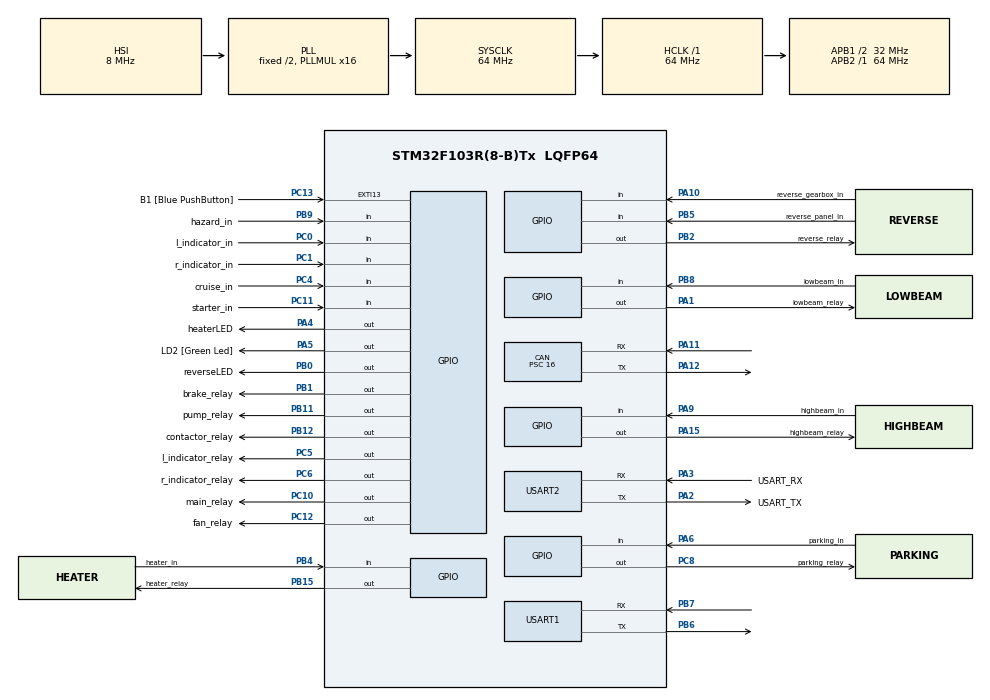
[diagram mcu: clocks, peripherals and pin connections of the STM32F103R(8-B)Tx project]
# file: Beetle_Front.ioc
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CAN.BS1=CAN_BS1_2TQ
CAN.CalculateBaudRate=500000
CAN.CalculateTimeBit=2000
CAN.CalculateTimeQuantum=500.0
CAN.Prescaler=16
Dma.Request0=USART1_TX
Dma.USART1_TX.0.Direction=DMA_MEMORY_TO_PERIPH
Dma.USART1_TX.0.Instance=DMA1_Channel4
Dma.USART1_TX.0.MemDataAlignment=DMA_MDATAALIGN_BYTE
Dma.USART1_TX.0.MemInc=DMA_MINC_ENABLE
Dma.USART1_TX.0.Mode=DMA_NORMAL
Dma.USART1_TX.0.PeriphDataAlignment=DMA_PDATAALIGN_BYTE
Dma.USART1_TX.0.PeriphInc=DMA_PINC_DISABLE
Dma.USART1_TX.0.Priority=DMA_PRIORITY_LOW
Mcu.Family=STM32F1
Mcu.Name=STM32F103R(8-B)Tx
Mcu.Package=LQFP64
NVIC.DMA1_Channel4_IRQn=true\:0\:0\:false\:false\:true\:false\:true\:true
NVIC.EXTI15_10_IRQn=true\:0\:0\:false\:false\:true\:true\:true\:true
NVIC.PriorityGroup=NVIC_PRIORITYGROUP_4
NVIC.TIM3_IRQn=true\:0\:0\:false\:false\:true\:true\:true\:true
NVIC.USART1_IRQn=true\:0\:0\:false\:false\:true\:true\:true\:true
NVIC.USB_LP_CAN1_RX0_IRQn=true\:0\:0\:false\:false\:true\:true\:true\:true
PA1.GPIO_Label=lowbeam_relay
PA1.Signal=GPIO_Output
PA10.GPIO_Label=reverse_gearbox_in
PA10.GPIO_PuPd=GPIO_PULLUP
PA10.Signal=GPIO_Input
PA11.GPIO_PuPd=GPIO_PULLUP
PA11.Mode=CAN_Activate
PA11.Signal=CAN_RX
PA12.Mode=CAN_Activate
PA12.Signal=CAN_TX
PA13.Signal=SYS_JTMS-SWDIO
PA14.Signal=SYS_JTCK-SWCLK
PA15.GPIO_Label=highbeam_relay
PA15.Signal=GPIO_Output
PA2.GPIO_Label=USART_TX
PA2.GPIO_Mode=GPIO_MODE_AF_PP
PA2.GPIO_PuPd=GPIO_NOPULL
PA2.GPIO_Speed=GPIO_SPEED_FREQ_LOW
PA2.Mode=Asynchronous
PA2.Signal=USART2_TX
PA3.GPIO_Label=USART_RX
PA3.GPIO_Mode=GPIO_MODE_AF_PP
PA3.GPIO_PuPd=GPIO_NOPULL
PA3.GPIO_Speed=GPIO_SPEED_FREQ_LOW
PA3.Mode=Asynchronous
PA3.Signal=USART2_RX
PA4.GPIO_Label=heaterLED
PA4.Signal=GPIO_Output
PA5.GPIO_Label=LD2 [Green Led]
PA5.GPIO_ModeDefaultOutputPP=GPIO_MODE_OUTPUT_PP
PA5.GPIO_PuPd=GPIO_NOPULL
PA5.GPIO_Speed=GPIO_SPEED_FREQ_LOW
PA5.Signal=GPIO_Output
PA6.GPIO_Label=parking_in
PA6.GPIO_PuPd=GPIO_PULLUP
PA6.Signal=GPIO_Input
PA9.GPIO_Label=highbeam_in
PA9.GPIO_PuPd=GPIO_PULLUP
PA9.Signal=GPIO_Input
PB0.GPIO_Label=reverseLED
PB0.Signal=GPIO_Output
PB1.GPIO_Label=brake_relay
PB1.Signal=GPIO_Output
PB11.GPIO_Label=pump_relay
PB11.Signal=GPIO_Output
PB12.GPIO_Label=contactor_relay
PB12.Signal=GPIO_Output
PB15.GPIO_Label=heater_relay
PB15.Signal=GPIO_Output
PB2.GPIO_Label=reverse_relay
PB2.Signal=GPIO_Output
PB3.GPIO_Label=SWO
PB3.Signal=SYS_JTDO-TRACESWO
PB4.GPIO_Label=heater_in
PB4.GPIO_PuPd=GPIO_PULLUP
PB4.Signal=GPIO_Input
PB5.GPIO_Label=reverse_panel_in
PB5.GPIO_PuPd=GPIO_PULLUP
PB5.Signal=GPIO_Input
PB6.Mode=Asynchronous
PB6.Signal=USART1_TX
PB7.Mode=Asynchronous
PB7.Signal=USART1_RX
PB8.GPIO_Label=lowbeam_in
PB8.GPIO_PuPd=GPIO_PULLUP
PB8.Signal=GPIO_Input
PB9.GPIO_Label=hazard_in
PB9.GPIO_PuPd=GPIO_PULLUP
PB9.Signal=GPIO_Input
PC0.GPIO_Label=l_indicator_in
PC0.GPIO_PuPd=GPIO_PULLUP
PC0.Signal=GPIO_Input
PC1.GPIO_Label=r_indicator_in
PC1.GPIO_PuPd=GPIO_PULLUP
PC1.Signal=GPIO_Input
PC10.GPIO_Label=main_relay
PC10.Signal=GPIO_Output
PC11.GPIO_Label=starter_in
PC11.GPIO_PuPd=GPIO_NOPULL
PC11.Signal=GPIO_Input
PC12.GPIO_Label=fan_relay
PC12.Signal=GPIO_Output
PC13-TAMPER-RTC.GPIO_Label=B1 [Blue PushButton]
PC13-TAMPER-RTC.GPIO_PuPd=GPIO_NOPULL
PC13-TAMPER-RTC.Signal=GPXTI13
PC14-OSC32_IN.Mode=LSE-External-Oscillator
PC14-OSC32_IN.Signal=RCC_OSC32_IN
PC15-OSC32_OUT.Mode=LSE-External-Oscillator
PC15-OSC32_OUT.Signal=RCC_OSC32_OUT
PC4.GPIO_Label=cruise_in
PC4.GPIO_PuPd=GPIO_PULLUP
PC4.Signal=GPIO_Input
PC5.GPIO_Label=l_indicator_relay
PC5.Signal=GPIO_Output
PC6.GPIO_Label=r_indicator_relay
PC6.Signal=GPIO_Output
PC8.GPIO_Label=parking_relay
PC8.Signal=GPIO_Output
PD0-OSC_IN.Mode=HSE-External-Clock-Source
PD0-OSC_IN.Signal=RCC_OSC_IN
PD1-OSC_OUT.Mode=HSE-External-Clock-Source
PD1-OSC_OUT.Signal=RCC_OSC_OUT
ProjectManager.HeapSize=0x200
ProjectManager.StackSize=0x400
ProjectManager.TargetToolchain=STM32CubeIDE
RCC.AHBFreq_Value=64000000
RCC.APB1CLKDivider=RCC_HCLK_DIV2
RCC.APB1Freq_Value=32000000
RCC.APB1TimFreq_Value=64000000
RCC.APB2Freq_Value=64000000
RCC.APB2TimFreq_Value=64000000
RCC.HCLKFreq_Value=64000000
RCC.PLLMUL=RCC_PLL_MUL16
RCC.RTCClockSelection=RCC_RTCCLKSOURCE_LSE
RCC.SYSCLKFreq_VALUE=64000000
RCC.SYSCLKSource=RCC_SYSCLKSOURCE_PLLCLK
RCC.USBFreq_Value=64000000
TIM3.Period=24
TIM3.Prescaler=63999
USART1.VirtualMode=VM_ASYNC
USART2.VirtualMode=VM_ASYNC
VP_SYS_VS_ND.Mode=No_Debug
VP_TIM3_VS_ClockSourceINT.Mode=Internal
board=NUCLEO-F103RB

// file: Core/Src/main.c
/* USER CODE BEGIN Header */
/**
 ******************************************************************************
 * @file           : main.c
 * @brief          : Main program body
 ******************************************************************************
 * @attention
 *
 * Copyright (c) 2025 STMicroelectronics.
 * All rights reserved.
 *
 * This software is licensed under terms that can be found in the LICENSE file
 * in the root directory of this software component.
 * If no LICENSE file comes with this software, it is provided AS-IS.
 *
 ******************************************************************************
 */
/* USER CODE END Header */
#include "main.h"

/* USER CODE BEGIN Includes */
#include "display_utils.h"

#include <stdbool.h>
#include <stdio.h>
/* USER CODE END Includes */

CAN_HandleTypeDef hcan;

TIM_HandleTypeDef htim3;

UART_HandleTypeDef huart1;
UART_HandleTypeDef huart2;
DMA_HandleTypeDef hdma_usart1_tx;

/* USER CODE BEGIN PV */
bool indicatorOn = true;
uint8_t hazardState[] =
		{ GPIO_PIN_SET, GPIO_PIN_SET, GPIO_PIN_SET, GPIO_PIN_SET };
uint8_t leftState[] = { GPIO_PIN_SET, GPIO_PIN_SET, GPIO_PIN_SET, GPIO_PIN_SET };
uint8_t rightState[] =
		{ GPIO_PIN_SET, GPIO_PIN_SET, GPIO_PIN_SET, GPIO_PIN_SET };
uint8_t indicatorCounter = 0;

volatile bool battery = false;
volatile bool uart_dma_busy = false;
volatile uint8_t indicator_state = 0;  // 0: off; 1: hazard; 2: left; 3: right

/* CAN message structures */
CAN_TxHeaderTypeDef TxHeader;
CAN_RxHeaderTypeDef RxHeader;
uint8_t TxData[8];
uint8_t RxData[8];
uint32_t TxMailbox;

/* UART buffer */
char uart_buf[100];
int uart_buf_len;

volatile bool contactor = false;    // Contactor state based on MCU summary
volatile bool plugged = false;      // Plugged in status based on MCU summary
volatile uint8_t SOC = 0;           // State of Charge percentage
volatile float current_bms = 0.0f;      // Current in Amps
volatile uint8_t thmax = 0;         // Maximum thermistor temperature
volatile float chargekw = 0.0f;     // Charge power in kW
volatile float voltage = 0.0f;      // Pack voltage in volts

volatile bool underTemp;
volatile bool overTemp;
volatile bool LVC;
volatile bool HVC;
volatile bool thermistorCensus;
volatile bool cellCensus;
volatile bool hardwareFault;

bool malfunction = false;

bool inverter_traction_enable = false;   // k1-4 traction enable
bool inverter_forward = false;           // k1-5 forward
bool inverter_reverse = false;           // k1-6 reverse
bool inverter_torque_limit = false;      // k1-7 torque limit
bool inverter_profile2 = false;          // k1-18 profile 2
bool inverter_profile3 = false;          // k1-19 profile 3

volatile uint32_t lastBMSMsg = 0;

// error display
#define numErrors 21
bool errors[numErrors] = { true, false, false, false, false, false, false,
false, false, false, false, false, false, false, false, false, false, false,
false, false, false };
uint8_t errorMsgs[numErrors][21] = { "  EV switched on  ", // 0
		"  Inv. > 75deg C  ", // 1
		" Motor > 135deg C ", // 2
		" Bat. below 100V  ", // 3
		"  Bat. below 20%  ", // 4
		"  Bat. < 5deg C   ", // 5
		"  Bat. > 40deg C  ", // 6
		"  Inv. > 90deg C  ", // 7
		" Motor > 155deg C ", // 8
		"  Bat. below 90V  ", // 9
		"  BMS CAN error   ", // 10
		" Fr-Rr CAN error  ", // 11
		"  Inv. CAN error  ", // 12
		"  BMS LVC < 2.8V  ", // 13
		" BMS HVC > 4.25V  ", // 14
		"  Bat. < 0deg C   ", // 15
		"  Bat. > 55deg C  ", // 16
		"  Therm. Census   ", // 17
		"   Cell Census    ", // 18
		"   BMS HW Fault   ", // 19
		" Inv. Error #     " }; // 20
uint32_t lastDispUpdate = 0;
uint8_t lastDispError = 0;

// Inverter telemetry data from 0x154 message
volatile double speed = 0;
volatile double current_inv = 0.0;
volatile int16_t motor_temp = 0;        // Motor temperature (signed)
volatile int16_t inverter_temp = 0;     // Inverter temperature (signed)
volatile uint8_t fault_code = 0;
volatile uint8_t fault_level = 0;
volatile bool brake_active_inv = false;     // Brake status (true/false)
volatile bool throttle_active_inv = false;  // Throttle status (true/false)
volatile double odometer = 0.0;
volatile uint32_t last154MsgTime = 0;         // Timestamp for timeout detection

uint32_t lastReversePress = 0;
uint32_t lastHeaterPress = 0;
bool heaterState = false;

uint32_t brake_on_time = 0;
uint32_t lights_on_time = 0;
/* USER CODE END PV */

void SystemClock_Config(void);
static void MX_GPIO_Init(void);
static void MX_DMA_Init(void);
static void MX_USART2_UART_Init(void);
static void MX_CAN_Init(void);
static void MX_TIM3_Init(void);
static void MX_USART1_UART_Init(void);

/* USER CODE BEGIN 0 */
void Send_BMS_Request(void) {
	TxHeader.StdId = 0x313; /* PDO2 MOSI ID */
	TxHeader.RTR = CAN_RTR_DATA;
	TxHeader.IDE = CAN_ID_STD;
	TxHeader.DLC = 8;

	// Requests in 50ms ticks
	TxData[0] = 0;
	TxData[1] = 1; 	  // MCU summary interval
	TxData[2] = 1;    // Pack summary interval
	TxData[3] = 20;   // Cell voltage summary interval
	TxData[4] = 5; // Thermistor summary interval HAS BUG IF SET TO 20 LIKE OTHERS
	TxData[5] = 20;   // SOC summary interval
	TxData[6] = 0;    // Cellmap summary (don't need this)
	TxData[7] = 0;

	HAL_CAN_AddTxMessage(&hcan, &TxHeader, TxData, &TxMailbox);
}

void Send_Inverter_State(void) {  // Send custom CAN control msg to rear STM32
	TxHeader.StdId = 0x166;  // Inverter control message ID
	TxHeader.RTR = CAN_RTR_DATA;
	TxHeader.IDE = CAN_ID_STD;
	TxHeader.DLC = 8;  // Standard 8-byte message

	// Pack all control bits into a single byte (bits 6-7 reserved)
	uint8_t control_byte = 0;

	// Set bits according to function parameters (following k1-pin order)
	if (inverter_traction_enable)
		control_byte |= 0x01;  // Bit 0: k1-4 traction enable
	if (inverter_forward)
		control_byte |= 0x02;  // Bit 1: k1-5 forward
	if (inverter_reverse)
		control_byte |= 0x04;  // Bit 2: k1-6 reverse
	if (inverter_torque_limit)
		control_byte |= 0x08;  // Bit 3: k1-7 torque limit
	if (inverter_profile2)
		control_byte |= 0x10;  // Bit 4: k1-18 profile 2
	if (inverter_profile3)
		control_byte |= 0x20;  // Bit 5: k1-19 profile 3

	// Set the control byte as the first byte of the message
	TxData[0] = control_byte;

	// Clear the rest of the message (not strictly necessary but good practice)
	for (int i = 1; i < 8; i++) {
		TxData[i] = 0;
	}

	// Send the message
	HAL_CAN_AddTxMessage(&hcan, &TxHeader, TxData, &TxMailbox);
}
/* USER CODE END 0 */

int main(void)
{

  /* USER CODE BEGIN 1 */
	uint8_t main_state = 0;  // 0: off; 1: on driving; 2: charging
	bool starter_held = true;
	uint32_t starter_start = 0;
	uint32_t lastBMSRequest = 0;
	uint32_t lastInverterControl = 0;
  /* USER CODE END 1 */

  /* MCU Configuration--------------------------------------------------------*/

  /* Reset of all peripherals, Initializes the Flash interface and the Systick. */
  HAL_Init();

  /* Configure the system clock */
  SystemClock_Config();

  /* Initialize all configured peripherals */
  MX_GPIO_Init();
  MX_DMA_Init();
  MX_USART2_UART_Init();
  MX_CAN_Init();
  MX_TIM3_Init();
  MX_USART1_UART_Init();
  /* USER CODE BEGIN 2 */
	HAL_TIM_Base_Start_IT(&htim3);
	CAN_FilterTypeDef filter;
	filter.FilterBank = 0;
	filter.FilterMode = CAN_FILTERMODE_IDMASK;
	filter.FilterScale = CAN_FILTERSCALE_32BIT;
	filter.FilterIdHigh = 0x0000;
	filter.FilterIdLow = 0x0000;
	filter.FilterMaskIdHigh = 0x0000;
	filter.FilterMaskIdLow = 0x0000;
	filter.FilterFIFOAssignment = CAN_RX_FIFO0; // Important: use FIFO0, not FIFO1
	filter.FilterActivation = ENABLE;
	HAL_CAN_ConfigFilter(&hcan, &filter);
	HAL_CAN_ActivateNotification(&hcan, CAN_IT_RX_FIFO0_MSG_PENDING);
	HAL_CAN_Start(&hcan);
	// Switch on main relay for display, horn, wipers, etc.
	HAL_GPIO_WritePin(main_relay_GPIO_Port, main_relay_Pin, GPIO_PIN_SET);
  /* USER CODE END 2 */

  /* Infinite loop */
  /* USER CODE BEGIN WHILE */
	while (1) {
		uint32_t currentTime = HAL_GetTick();

		// if we haven't received recent BMS update via CAN, set error and turn off contactor
		if (currentTime + 50 - lastBMSMsg > 300) {
			contactor = false;
			inverter_traction_enable = false;
			SOC = 0;
			thmax = 98;
			voltage = 987.0f;
			errors[10] = true;
		} else {
			errors[10] = false;
		}

		// More than 1 second since last telemetry message from rear STM32, set default values
		if (currentTime - last154MsgTime > 100 && currentTime > 1700) {
			throttle_active_inv = false;
			speed = 198.0;
			motor_temp = 987;
			inverter_temp = 987;
			odometer = 987654.0;
			current_inv = 200.0;
			HAL_GPIO_WritePin(brake_relay_GPIO_Port, brake_relay_Pin,
					GPIO_PIN_SET);
			malfunction = true;
			inverter_traction_enable = false;
			errors[11] = true;
			errors[12] = true;
		} else {
			errors[11] = false;
			errors[12] = false;
		}

		if (contactor && !malfunction) {
			HAL_GPIO_WritePin(contactor_relay_GPIO_Port, contactor_relay_Pin,
					GPIO_PIN_SET);
		} else {
			HAL_GPIO_WritePin(contactor_relay_GPIO_Port, contactor_relay_Pin,
					GPIO_PIN_RESET);
			inverter_traction_enable = false;
		}

		if (brake_active_inv) {
			HAL_GPIO_WritePin(brake_relay_GPIO_Port, brake_relay_Pin,
					GPIO_PIN_SET);
			brake_on_time = currentTime;
		} else {
			if (brake_on_time + 120 < currentTime){ // Hysterisis
				HAL_GPIO_WritePin(brake_relay_GPIO_Port, brake_relay_Pin,
					GPIO_PIN_RESET);
			}
		}

		if (inverter_temp > 40 && currentTime > 1000) {
			HAL_GPIO_WritePin(pump_relay_GPIO_Port, pump_relay_Pin,
					GPIO_PIN_SET);
		} else if (inverter_temp < 35){
			HAL_GPIO_WritePin(pump_relay_GPIO_Port, pump_relay_Pin,
					GPIO_PIN_RESET);
		}

		bool heater_button = !HAL_GPIO_ReadPin(heater_in_GPIO_Port,
		heater_in_Pin);
		if (heater_button && currentTime > lastHeaterPress + 50) {
			if (currentTime < lastHeaterPress + 500) {
				heaterState = !heaterState;
				if (heaterState) {
					HAL_GPIO_WritePin(heater_relay_GPIO_Port, heater_relay_Pin,
							GPIO_PIN_SET);
					HAL_GPIO_WritePin(heaterLED_GPIO_Port, heaterLED_Pin,
							GPIO_PIN_SET);
				} else {
					HAL_GPIO_WritePin(heater_relay_GPIO_Port, heater_relay_Pin,
							GPIO_PIN_RESET);
					HAL_GPIO_WritePin(heaterLED_GPIO_Port, heaterLED_Pin,
							GPIO_PIN_RESET);
				}
				lastHeaterPress = currentTime + 500;
			} else {
				lastHeaterPress = currentTime;
			}
		}

		bool reverse_sensor = !HAL_GPIO_ReadPin(reverse_gearbox_in_GPIO_Port,
		reverse_gearbox_in_Pin);
		if ((inverter_reverse && !reverse_sensor)
				|| (!inverter_reverse && reverse_sensor)) {
			HAL_GPIO_WritePin(reverse_relay_GPIO_Port, reverse_relay_Pin,
					GPIO_PIN_SET);
			HAL_GPIO_WritePin(reverseLED_GPIO_Port, reverseLED_Pin,
					GPIO_PIN_SET);
		} else {
			HAL_GPIO_WritePin(reverse_relay_GPIO_Port, reverse_relay_Pin,
					GPIO_PIN_RESET);
			HAL_GPIO_WritePin(reverseLED_GPIO_Port, reverseLED_Pin,
					GPIO_PIN_RESET);
		}

		if (currentTime - lastBMSRequest > 500) {
			Send_BMS_Request();
			lastBMSRequest = currentTime;
		}

		if (currentTime - lastInverterControl > 100) {
			Send_Inverter_State();
			lastInverterControl = currentTime;
		}

		if (plugged == true) {
			main_state = 2;
		}

		if (main_state == 0) {  // car off mode
			if (currentTime < 2000 && currentTime > 1300) {
				set_page(3);
			} else if (!HAL_GPIO_ReadPin(reverse_panel_in_GPIO_Port,
			reverse_panel_in_Pin) && !HAL_GPIO_ReadPin(heater_in_GPIO_Port,
			heater_in_Pin)) {
				set_page(1);
			}
			HAL_Delay(50);

			uint32_t current_time = HAL_GetTick();

			uint8_t starter_in = HAL_GPIO_ReadPin(starter_in_GPIO_Port,
			starter_in_Pin);
			if (starter_in == GPIO_PIN_RESET) {
				set_state(0x2110, 1);

				if (starter_start == 0 && current_time > 200
						&& brake_active_inv) {
					starter_start = current_time;
				} else if (starter_start
						> 0 && current_time - starter_start > 700 && starter_held == true) {
					set_current_bar(0.0);
					main_state = 1;
					inverter_traction_enable = true;
					inverter_forward = true;
				}
			} else {
				set_state(0x2110, 0);
				if (starter_start > 0) {
					starter_held = false;
				}
			}
			if (brake_active_inv) {
				set_state(0x2100, 1);
			} else {
				set_state(0x2100, 0);
				if (starter_start > 0) {
					starter_held = false;
				}
			}
			if (throttle_active_inv && starter_start > 0) {
				starter_held = false;
			}

		} else if (main_state == 1) {  // driving mode
			set_page(1);
			set_battery(SOC);
			write_two(0x1550, thmax);
			write_three(0x1540, motor_temp);
			write_three(0x1560, inverter_temp);
			// Convert odometer to integer (multiply by 100 since odometer has 2 decimal places)
			uint32_t odo_int = (uint32_t) odometer;

			// Cap at 999999 if needed
			if (odo_int > 999999)
				odo_int = 999999;

			// Prepare 6 ASCII bytes for display
			uint8_t odo_bytes[6];
			odo_bytes[0] = (odo_int / 100000) + '0';       // 100000s place
			odo_bytes[1] = ((odo_int / 10000) % 10) + '0'; // 10000s place
			odo_bytes[2] = ((odo_int / 1000) % 10) + '0';  // 1000s place
			odo_bytes[3] = ((odo_int / 100) % 10) + '0';   // 100s place
			odo_bytes[4] = ((odo_int / 10) % 10) + '0';    // 10s place
			odo_bytes[5] = (odo_int % 10) + '0';           // 1s place

			// Send to display
			dwin_write(0x1570, odo_bytes, 6);

			uint32_t vol_int = (uint32_t) voltage;

			// Cap at 999999 if needed
			if (vol_int > 999)
				vol_int = 999;

			uint8_t vol_bytes[5];
			vol_bytes[0] = ((vol_int / 100) % 10) + '0';   // 100s place
			vol_bytes[1] = ((vol_int / 10) % 10) + '0';    // 10s place
			vol_bytes[2] = (vol_int % 10) + '0';           // 1s place
			vol_bytes[3] = ' '; // 10000s place
			vol_bytes[4] = 'v';  // 1000s place

			dwin_write(0x1580, vol_bytes, 5);

			set_state(0x1740, (int) speed / 100);         // hundreds digit
			set_state(0x1750, ((int) speed % 100) / 10);  // tens digit
			set_state(0x1760, (int) speed % 10);          // ones digit
			set_current_bar(current_inv);

			if (indicator_state == 0) {
				set_state(0x1710, 0);
				set_state(0x1730, 0);
			} else if (indicator_state == 1) {
				set_state(0x1710, 1);
				set_state(0x1730, 1);
			} else if (indicator_state == 2) {
				set_state(0x1710, 1);
				set_state(0x1730, 0);
			} else if (indicator_state == 3) {
				set_state(0x1710, 0);
				set_state(0x1730, 1);
			}

			bool reverse_button = !HAL_GPIO_ReadPin(reverse_panel_in_GPIO_Port,
			reverse_panel_in_Pin);
			if (reverse_button && currentTime > lastReversePress + 50) {
				if (currentTime < lastReversePress + 500) {
					inverter_reverse = !inverter_reverse;
					inverter_forward = !inverter_forward;
					lastReversePress = currentTime + 500;
				} else {
					lastReversePress = currentTime;
				}
			}
		} else {  // charging
			inverter_traction_enable = false;
			set_page(2);
			set_battery(SOC);
			set_voltage(voltage);
			set_current(current_bms);
			set_charge_kw((voltage * current_bms) / 1000.0f);
		}

		// always running code:
		// parking/highbeam/lowbeam and display
		uint8_t parking_in = HAL_GPIO_ReadPin(parking_in_GPIO_Port,
		parking_in_Pin);
		uint8_t lowbeam_in = HAL_GPIO_ReadPin(lowbeam_in_GPIO_Port,
		lowbeam_in_Pin);
		uint8_t highbeam_in = HAL_GPIO_ReadPin(highbeam_in_GPIO_Port,
		highbeam_in_Pin);
		if (highbeam_in == GPIO_PIN_RESET) {
			HAL_GPIO_WritePin(highbeam_relay_GPIO_Port, highbeam_relay_Pin,
					GPIO_PIN_SET);
			HAL_GPIO_WritePin(lowbeam_relay_GPIO_Port, lowbeam_relay_Pin,
					GPIO_PIN_RESET);
			HAL_GPIO_WritePin(parking_relay_GPIO_Port, parking_relay_Pin,
					GPIO_PIN_SET);
			set_state(0x1720, 3);
			lights_on_time = currentTime;
		} else if (lowbeam_in == GPIO_PIN_RESET) {
			HAL_GPIO_WritePin(highbeam_relay_GPIO_Port, highbeam_relay_Pin,
					GPIO_PIN_RESET);
			HAL_GPIO_WritePin(lowbeam_relay_GPIO_Port, lowbeam_relay_Pin,
					GPIO_PIN_SET);
			HAL_GPIO_WritePin(parking_relay_GPIO_Port, parking_relay_Pin,
					GPIO_PIN_SET);
			set_state(0x1720, 2);
			lights_on_time = currentTime;
		} else if (parking_in == GPIO_PIN_RESET) {
			HAL_GPIO_WritePin(highbeam_relay_GPIO_Port, highbeam_relay_Pin,
					GPIO_PIN_RESET);
			HAL_GPIO_WritePin(lowbeam_relay_GPIO_Port, lowbeam_relay_Pin,
					GPIO_PIN_RESET);
			HAL_GPIO_WritePin(parking_relay_GPIO_Port, parking_relay_Pin,
					GPIO_PIN_SET);
			set_state(0x1720, 1);
			lights_on_time = currentTime;
		} else if (lights_on_time + 120 < currentTime) {
			HAL_GPIO_WritePin(highbeam_relay_GPIO_Port, highbeam_relay_Pin,
					GPIO_PIN_RESET);
			HAL_GPIO_WritePin(lowbeam_relay_GPIO_Port, lowbeam_relay_Pin,
					GPIO_PIN_RESET);
			HAL_GPIO_WritePin(parking_relay_GPIO_Port, parking_relay_Pin,
					GPIO_PIN_RESET);
			set_state(0x1720, 0);
			lights_on_time = currentTime;
		}

		if (currentTime - lastDispUpdate >= 1000) {
//					"Cell voltage<2.80V", // 11
//					"Cell voltage>4.25V", // 12
			// inverter temp
			if (inverter_temp > 90) {
				errors[7] = true;
				errors[1] = false;
			} else if (inverter_temp > 75) {
				errors[7] = false;
				errors[1] = true;
			} else {
				errors[7] = false;
				errors[1] = false;
			}
			// motor temp
			if (motor_temp > 155) {
				errors[8] = true;
				errors[2] = false;
			} else if (motor_temp > 135) {
				errors[8] = false;
				errors[2] = true;
			} else {
				errors[8] = false;
				errors[2] = false;
			}
			// voltage
			if (voltage < 90.0f) {
				errors[9] = true;
				errors[3] = false;
			} else if (voltage < 100.0f) {
				errors[9] = false;
				errors[3] = true;
			} else {
				errors[9] = false;
				errors[3] = false;
			}
			// soc
			if (SOC < 20) {
				errors[4] = true;
			} else {
				errors[4] = false;
			}
			// bat low temp
			if (underTemp) {
				errors[15] = true;
				errors[5] = false;
			} else if (thmax < 5) {
				errors[15] = false;
				errors[5] = true;
			} else {
				errors[15] = false;
				errors[5] = false;
			}
			// bat high temp
			if (overTemp) {
				errors[16] = true;
				errors[6] = false;
			} else if (thmax < 5) {
				errors[16] = false;
				errors[6] = true;
			} else {
				errors[16] = false;
				errors[6] = false;
			}
			if (LVC) {
				errors[13] = true;
			} else {
				errors[13] = false;
			}
			if (HVC) {
				errors[14] = true;
			} else {
				errors[14] = false;
			}
			if (thermistorCensus) {
				errors[17] = true;
			} else {
				errors[17] = false;
			}
			if (cellCensus) {
				errors[18] = true;
			} else {
				errors[18] = false;
			}
			if (hardwareFault) {
				errors[19] = true;
			} else {
				errors[19] = false;
			}
			// inverter error
			if (fault_code > 0) {
				errors[20] = true;
			} else {
				errors[20] = false;
			}

			// Find the next active error (where errors[i] is true)
			uint8_t i = (lastDispError + 1) % numErrors; // Start from the next error index

			// Keep searching until we find an active error
			while (errors[i] == false) {
				i = (i + 1) % numErrors; // Wrap around if needed
			}

			// Update the last error index
			lastDispError = i;

			// Display the corresponding error message
			uint8_t colour[2];
			if (lastDispError <= 0) {
				colour[0] = 0x4D;
				colour[1] = 0x25;
			} else if (lastDispError <= 6) {
				colour[0] = 0xD4;
				colour[1] = 0xC0;
			} else {
				colour[0] = 0xD0;
				colour[1] = 0x00;
			}

			if (lastDispError == 20) {
				if (fault_level < 3) {
					strcpy((char *)errorMsgs[20], " Inv. Error #     ");
				}
				else {
					strcpy((char *)errorMsgs[20], "  Inv. Warn #     ");
					colour[0] = 0xD4;
					colour[1] = 0xC0;
				}

				errorMsgs[20][13] = ((fault_code / 100) % 10) + '0'; // 100s place
				errorMsgs[20][14] = ((fault_code / 10) % 10) + '0'; // 10s place
				errorMsgs[20][15] = (fault_code % 10) + '0';         // 1s place

				switch (fault_code) { // Custom msgs for certain codes
				case 25:
					strcpy((char *)errorMsgs[20], "Inv. Regen Cutback");
				}
			}
			dwin_write(0x7903, colour, sizeof(colour));
			dwin_write(0x2900, errorMsgs[lastDispError], 18);

			// Update the timestamp for the next cycle
			lastDispUpdate = currentTime;
		}

    /* USER CODE END WHILE */

	}
}

void SystemClock_Config(void)
{
  RCC_OscInitTypeDef RCC_OscInitStruct = {0};
  RCC_ClkInitTypeDef RCC_ClkInitStruct = {0};

  /** Initializes the RCC Oscillators according to the specified parameters
  * in the RCC_OscInitTypeDef structure.
  */
  RCC_OscInitStruct.OscillatorType = RCC_OSCILLATORTYPE_HSI;
  RCC_OscInitStruct.HSIState = RCC_HSI_ON;
  RCC_OscInitStruct.HSICalibrationValue = RCC_HSICALIBRATION_DEFAULT;
  RCC_OscInitStruct.PLL.PLLState = RCC_PLL_ON;
  RCC_OscInitStruct.PLL.PLLSource = RCC_PLLSOURCE_HSI_DIV2;
  RCC_OscInitStruct.PLL.PLLMUL = RCC_PLL_MUL16;
  if (HAL_RCC_OscConfig(&RCC_OscInitStruct) != HAL_OK)
  {
    Error_Handler();
  }

  /** Initializes the CPU, AHB and APB buses clocks
  */
  RCC_ClkInitStruct.ClockType = RCC_CLOCKTYPE_HCLK|RCC_CLOCKTYPE_SYSCLK
                              |RCC_CLOCKTYPE_PCLK1|RCC_CLOCKTYPE_PCLK2;
  RCC_ClkInitStruct.SYSCLKSource = RCC_SYSCLKSOURCE_PLLCLK;
  RCC_ClkInitStruct.AHBCLKDivider = RCC_SYSCLK_DIV1;
  RCC_ClkInitStruct.APB1CLKDivider = RCC_HCLK_DIV2;
  RCC_ClkInitStruct.APB2CLKDivider = RCC_HCLK_DIV1;

  if (HAL_RCC_ClockConfig(&RCC_ClkInitStruct, FLASH_LATENCY_2) != HAL_OK)
  {
    Error_Handler();
  }
}

static void MX_CAN_Init(void)
{

  hcan.Instance = CAN1;
  hcan.Init.Prescaler = 16;
  hcan.Init.Mode = CAN_MODE_NORMAL;
  hcan.Init.SyncJumpWidth = CAN_SJW_1TQ;
  hcan.Init.TimeSeg1 = CAN_BS1_2TQ;
  hcan.Init.TimeSeg2 = CAN_BS2_1TQ;
  hcan.Init.TimeTriggeredMode = DISABLE;
  hcan.Init.AutoBusOff = DISABLE;
  hcan.Init.AutoWakeUp = DISABLE;
  hcan.Init.AutoRetransmission = DISABLE;
  hcan.Init.ReceiveFifoLocked = DISABLE;
  hcan.Init.TransmitFifoPriority = DISABLE;
  if (HAL_CAN_Init(&hcan) != HAL_OK)
  {
    Error_Handler();
  }

}

static void MX_TIM3_Init(void)
{

  TIM_ClockConfigTypeDef sClockSourceConfig = {0};
  TIM_MasterConfigTypeDef sMasterConfig = {0};

  htim3.Instance = TIM3;
  htim3.Init.Prescaler = 63999;
  htim3.Init.CounterMode = TIM_COUNTERMODE_UP;
  htim3.Init.Period = 24;
  htim3.Init.ClockDivision = TIM_CLOCKDIVISION_DIV1;
  htim3.Init.AutoReloadPreload = TIM_AUTORELOAD_PRELOAD_DISABLE;
  if (HAL_TIM_Base_Init(&htim3) != HAL_OK)
  {
    Error_Handler();
  }
  sClockSourceConfig.ClockSource = TIM_CLOCKSOURCE_INTERNAL;
  if (HAL_TIM_ConfigClockSource(&htim3, &sClockSourceConfig) != HAL_OK)
  {
    Error_Handler();
  }
  sMasterConfig.MasterOutputTrigger = TIM_TRGO_RESET;
  sMasterConfig.MasterSlaveMode = TIM_MASTERSLAVEMODE_DISABLE;
  if (HAL_TIMEx_MasterConfigSynchronization(&htim3, &sMasterConfig) != HAL_OK)
  {
    Error_Handler();
  }

}

static void MX_USART1_UART_Init(void)
{

  huart1.Instance = USART1;
  huart1.Init.BaudRate = 115200;
  huart1.Init.WordLength = UART_WORDLENGTH_8B;
  huart1.Init.StopBits = UART_STOPBITS_1;
  huart1.Init.Parity = UART_PARITY_NONE;
  huart1.Init.Mode = UART_MODE_TX_RX;
  huart1.Init.HwFlowCtl = UART_HWCONTROL_NONE;
  huart1.Init.OverSampling = UART_OVERSAMPLING_16;
  if (HAL_UART_Init(&huart1) != HAL_OK)
  {
    Error_Handler();
  }

}

static void MX_USART2_UART_Init(void)
{

  huart2.Instance = USART2;
  huart2.Init.BaudRate = 115200;
  huart2.Init.WordLength = UART_WORDLENGTH_8B;
  huart2.Init.StopBits = UART_STOPBITS_1;
  huart2.Init.Parity = UART_PARITY_NONE;
  huart2.Init.Mode = UART_MODE_TX_RX;
  huart2.Init.HwFlowCtl = UART_HWCONTROL_NONE;
  huart2.Init.OverSampling = UART_OVERSAMPLING_16;
  if (HAL_UART_Init(&huart2) != HAL_OK)
  {
    Error_Handler();
  }

}

static void MX_DMA_Init(void)
{

  /* DMA controller clock enable */
  __HAL_RCC_DMA1_CLK_ENABLE();

  /* DMA interrupt init */
  /* DMA1_Channel4_IRQn interrupt configuration */
  HAL_NVIC_SetPriority(DMA1_Channel4_IRQn, 0, 0);
  HAL_NVIC_EnableIRQ(DMA1_Channel4_IRQn);

}

static void MX_GPIO_Init(void)
{
  GPIO_InitTypeDef GPIO_InitStruct = {0};

  /* GPIO Ports Clock Enable */
  __HAL_RCC_GPIOC_CLK_ENABLE();
  __HAL_RCC_GPIOD_CLK_ENABLE();
  __HAL_RCC_GPIOA_CLK_ENABLE();
  __HAL_RCC_GPIOB_CLK_ENABLE();

  /*Configure GPIO pin Output Level */
  HAL_GPIO_WritePin(GPIOA, lowbeam_relay_Pin|heaterLED_Pin|LD2_Pin|highbeam_relay_Pin, GPIO_PIN_RESET);

  /*Configure GPIO pin Output Level */
  HAL_GPIO_WritePin(GPIOC, l_indicator_relay_Pin|r_indicator_relay_Pin|parking_relay_Pin|main_relay_Pin
                          |fan_relay_Pin, GPIO_PIN_RESET);

  /*Configure GPIO pin Output Level */
  HAL_GPIO_WritePin(GPIOB, reverseLED_Pin|brake_relay_Pin|reverse_relay_Pin|pump_relay_Pin
                          |contactor_relay_Pin|heater_relay_Pin, GPIO_PIN_RESET);

  /*Configure GPIO pin : B1_Pin */
  GPIO_InitStruct.Pin = B1_Pin;
  GPIO_InitStruct.Mode = GPIO_MODE_IT_RISING;
  GPIO_InitStruct.Pull = GPIO_NOPULL;
  HAL_GPIO_Init(B1_GPIO_Port, &GPIO_InitStruct);

  /*Configure GPIO pins : l_indicator_in_Pin r_indicator_in_Pin cruise_in_Pin */
  GPIO_InitStruct.Pin = l_indicator_in_Pin|r_indicator_in_Pin|cruise_in_Pin;
  GPIO_InitStruct.Mode = GPIO_MODE_INPUT;
  GPIO_InitStruct.Pull = GPIO_PULLUP;
  HAL_GPIO_Init(GPIOC, &GPIO_InitStruct);

  /*Configure GPIO pins : lowbeam_relay_Pin heaterLED_Pin LD2_Pin highbeam_relay_Pin */
  GPIO_InitStruct.Pin = lowbeam_relay_Pin|heaterLED_Pin|LD2_Pin|highbeam_relay_Pin;
  GPIO_InitStruct.Mode = GPIO_MODE_OUTPUT_PP;
  GPIO_InitStruct.Pull = GPIO_NOPULL;
  GPIO_InitStruct.Speed = GPIO_SPEED_FREQ_LOW;
  HAL_GPIO_Init(GPIOA, &GPIO_InitStruct);

  /*Configure GPIO pins : parking_in_Pin highbeam_in_Pin reverse_gearbox_in_Pin */
  GPIO_InitStruct.Pin = parking_in_Pin|highbeam_in_Pin|reverse_gearbox_in_Pin;
  GPIO_InitStruct.Mode = GPIO_MODE_INPUT;
  GPIO_InitStruct.Pull = GPIO_PULLUP;
  HAL_GPIO_Init(GPIOA, &GPIO_InitStruct);

  /*Configure GPIO pins : l_indicator_relay_Pin r_indicator_relay_Pin parking_relay_Pin main_relay_Pin
                           fan_relay_Pin */
  GPIO_InitStruct.Pin = l_indicator_relay_Pin|r_indicator_relay_Pin|parking_relay_Pin|main_relay_Pin
                          |fan_relay_Pin;
  GPIO_InitStruct.Mode = GPIO_MODE_OUTPUT_PP;
  GPIO_InitStruct.Pull = GPIO_NOPULL;
  GPIO_InitStruct.Speed = GPIO_SPEED_FREQ_LOW;
  HAL_GPIO_Init(GPIOC, &GPIO_InitStruct);

  /*Configure GPIO pins : reverseLED_Pin brake_relay_Pin reverse_relay_Pin pump_relay_Pin
                           contactor_relay_Pin heater_relay_Pin */
  GPIO_InitStruct.Pin = reverseLED_Pin|brake_relay_Pin|reverse_relay_Pin|pump_relay_Pin
                          |contactor_relay_Pin|heater_relay_Pin;
  GPIO_InitStruct.Mode = GPIO_MODE_OUTPUT_PP;
  GPIO_InitStruct.Pull = GPIO_NOPULL;
  GPIO_InitStruct.Speed = GPIO_SPEED_FREQ_LOW;
  HAL_GPIO_Init(GPIOB, &GPIO_InitStruct);

  /*Configure GPIO pin : starter_in_Pin */
  GPIO_InitStruct.Pin = starter_in_Pin;
  GPIO_InitStruct.Mode = GPIO_MODE_INPUT;
  GPIO_InitStruct.Pull = GPIO_NOPULL;
  HAL_GPIO_Init(starter_in_GPIO_Port, &GPIO_InitStruct);

  /*Configure GPIO pins : heater_in_Pin reverse_panel_in_Pin lowbeam_in_Pin hazard_in_Pin */
  GPIO_InitStruct.Pin = heater_in_Pin|reverse_panel_in_Pin|lowbeam_in_Pin|hazard_in_Pin;
  GPIO_InitStruct.Mode = GPIO_MODE_INPUT;
  GPIO_InitStruct.Pull = GPIO_PULLUP;
  HAL_GPIO_Init(GPIOB, &GPIO_InitStruct);

  /* EXTI interrupt init*/
  HAL_NVIC_SetPriority(EXTI15_10_IRQn, 0, 0);
  HAL_NVIC_EnableIRQ(EXTI15_10_IRQn);

}

/* USER CODE BEGIN 4 */
void HAL_CAN_RxFifo0MsgPendingCallback(CAN_HandleTypeDef *hcan) { // CAN msg received from BMS or rear STM32
	CAN_RxHeaderTypeDef RxHeader;

	HAL_CAN_GetRxMessage(hcan, CAN_RX_FIFO0, &RxHeader, RxData);

	if (RxHeader.StdId == 0x155) {
		char debug_buf[50];
		/* Print message ID and length first - fixed warning */
		unsigned int stdid = (unsigned int) RxHeader.StdId; // Explicit conversion
		int len = sprintf(debug_buf, "RX: ID=0x%03X LEN=%d DATA=", stdid,
				(int) RxHeader.DLC);

		HAL_UART_Transmit(&huart2, (uint8_t*) debug_buf, len, HAL_MAX_DELAY);

		/* Now print each byte as a hex value */
		for (int i = 0; i < RxHeader.DLC; i++) {
			len = sprintf(debug_buf, "%02X ", RxData[i]);
			HAL_UART_Transmit(&huart2, (uint8_t*) debug_buf, len,
			HAL_MAX_DELAY);
		}

		/* Add newline at the end */
		HAL_UART_Transmit(&huart2, (uint8_t*) "\r\n", 2, HAL_MAX_DELAY);
	}

	if (RxHeader.StdId == 0x293) {	// BMS statusmsg
		lastBMSMsg = HAL_GetTick();

		uint8_t msgType = RxData[0];

		switch (msgType) {
		case 0x01:  // MCU Summary
			/* Set contactor state based on last two bytes */
			contactor = (RxData[6] == 0x00 && RxData[7] == 0x00);

			underTemp = (RxData[7] & 0x01) != 0;        // bit 56
			overTemp = (RxData[7] & 0x02) != 0;         // bit 57
			LVC = (RxData[7] & 0x04) != 0;              // bit 58
			HVC = (RxData[7] & 0x08) != 0;              // bit 59
			thermistorCensus = (RxData[7] & 0x10) != 0; // bit 60
			cellCensus = (RxData[7] & 0x20) != 0;       // bit 61
			hardwareFault = (RxData[7] & 0x40) != 0;    // bit 62

			/* Set plugged state based on third last byte */
			plugged = (RxData[5] != 0x01);

			/* Extract charge power from bytes 2-3 of MCU summary */
			chargekw = ((RxData[3] << 8) | RxData[2]) * 0.1f; // Charge power in kW
			break;

		case 0x02:  // Pack Summary
			/* Extract pack voltage from bytes 2-3 */
			voltage = ((RxData[3] << 8) | RxData[2]) * 0.1f; // Voltage in volts
			/* Extract current */
			int16_t current_raw = (int16_t) ((RxData[5] << 8) | RxData[4]);
			current_bms = current_raw * 0.1f;  // Current in amps
			break;

		case 0x03:  // Cell Voltage summary
			// No action needed for this message
			break;

		case 0x04:  // Thermistor data
			/* Extract maximum temperature from the third byte */
			thmax = RxData[3];  // Max temperature in °C (third byte)
			break;

		case 0x05:  // SOC summary
			/* Extract SOC */
			SOC = RxData[1];  // SOC as percentage
			break;
		}
	} else if (RxHeader.StdId == 0x154) {  // Rear STM32 msg
		// Extract temperatures (bytes 4 and 5)
		// Temperature is offset by +40, so we subtract 40 to get actual temperature
		motor_temp = (int16_t) RxData[4] - 40;      // Motor temp in byte 5
		inverter_temp = (int16_t) RxData[5] - 40;   // Inverter temp in byte 4

		// Extract fault code and fault level
		fault_code = RxData[6];
		fault_level = RxData[7] & 0x07;  // Lower 3 bits are fault level

		// Extract brake and throttle status from the highest 2 bits of byte 7
		brake_active_inv = (RxData[7] & 0x80) ? true : false;     // Bit 7
		throttle_active_inv = (RxData[7] & 0x40) ? true : false;  // Bit 6

		// Extract speed (bytes 0-1) - little endian format
		speed = ((uint16_t) ((RxData[1] << 8) | RxData[0])) / 16.0; // Convert to km/h as double

		// Extract current (bytes 2-3) - little endian format, signed value
		int16_t current_raw = (int16_t) ((RxData[3] << 8) | RxData[2]);
		current_inv = current_raw / 10.0;  // Convert to Amps

		// Update timestamp for timeout detection
		last154MsgTime = HAL_GetTick();
	} else if (RxHeader.StdId == 0x155) {  // Slow message with odometer data
		// Extract odometer (bytes 0-3, little endian format with 2 decimal places)
		uint32_t odo_raw = ((uint32_t) RxData[0]) | ((uint32_t) RxData[1] << 8)
				| ((uint32_t) RxData[2] << 16) | ((uint32_t) RxData[3] << 24);

		// Convert to kilometers with 2 decimal places
		odometer = odo_raw / 100.0;
	}
}

//
void HAL_TIM_PeriodElapsedCallback(TIM_HandleTypeDef *htim) {
	if (htim->Instance == TIM3) {  // update indicators every 50ms
		hazardState[0] = hazardState[1];
		hazardState[1] = hazardState[2];
		hazardState[2] = HAL_GPIO_ReadPin(hazard_in_GPIO_Port, hazard_in_Pin);
		if (hazardState[1] == hazardState[2]
				&& hazardState[0] != hazardState[1]) {
			hazardState[3] = hazardState[2];
			if (leftState[3] == GPIO_PIN_SET || rightState[3] == GPIO_PIN_SET) {
				indicatorCounter = 99;
				indicatorOn = true;
			}
		}
		leftState[0] = leftState[1];
		leftState[1] = leftState[2];
		leftState[2] = HAL_GPIO_ReadPin(l_indicator_in_GPIO_Port,
		l_indicator_in_Pin);
		if (leftState[1] == leftState[2] && leftState[0] != leftState[1]) {
			leftState[3] = leftState[2];
			if (hazardState[3] == GPIO_PIN_SET) {
				indicatorOn = true;
				indicatorCounter = 99;
			}
		}
		rightState[0] = rightState[1];
		rightState[1] = rightState[2];
		rightState[2] = HAL_GPIO_ReadPin(r_indicator_in_GPIO_Port,
		r_indicator_in_Pin);
		if (rightState[1] == rightState[2] && rightState[0] != rightState[1]) {
			rightState[3] = rightState[2];
			if (hazardState[3] == GPIO_PIN_SET) {
				indicatorOn = true;
				indicatorCounter = 99;
			}
		}

		if (indicatorCounter > 12) {
			indicatorCounter = 0;
			if (indicatorOn == false) {
				/* Turn OFF all indicators */
				indicatorOn = true;
				HAL_GPIO_WritePin(l_indicator_relay_GPIO_Port,
				l_indicator_relay_Pin, GPIO_PIN_RESET);
				HAL_GPIO_WritePin(r_indicator_relay_GPIO_Port,
				r_indicator_relay_Pin, GPIO_PIN_RESET);
				indicator_state = 0;
			} else {
				indicatorOn = false;
				/* Set outputs based on input states */
				if (hazardState[3] == GPIO_PIN_RESET) {
					/* Both indicators ON for hazard */
					HAL_GPIO_WritePin(l_indicator_relay_GPIO_Port,
					l_indicator_relay_Pin, GPIO_PIN_SET);
					HAL_GPIO_WritePin(r_indicator_relay_GPIO_Port,
					r_indicator_relay_Pin, GPIO_PIN_SET);
					indicator_state = 1;
				} else if (leftState[3] == GPIO_PIN_RESET) {
					/* Left indicator ON */
					HAL_GPIO_WritePin(l_indicator_relay_GPIO_Port,
					l_indicator_relay_Pin, GPIO_PIN_SET);
					HAL_GPIO_WritePin(r_indicator_relay_GPIO_Port,
					r_indicator_relay_Pin, GPIO_PIN_RESET);
					indicator_state = 2;
				} else if (rightState[3] == GPIO_PIN_RESET) {
					/* Right indicator ON */
					HAL_GPIO_WritePin(l_indicator_relay_GPIO_Port,
					l_indicator_relay_Pin, GPIO_PIN_RESET);
					HAL_GPIO_WritePin(r_indicator_relay_GPIO_Port,
					r_indicator_relay_Pin, GPIO_PIN_SET);
					indicator_state = 3;
				} else {
					/* All inputs OFF, turn off both indicators */
					HAL_GPIO_WritePin(l_indicator_relay_GPIO_Port,
					l_indicator_relay_Pin, GPIO_PIN_RESET);
					HAL_GPIO_WritePin(r_indicator_relay_GPIO_Port,
					r_indicator_relay_Pin, GPIO_PIN_RESET);
					indicator_state = 0;
				}

			}
		} else {
			indicatorCounter = indicatorCounter + 1;
		}
	}
}

void HAL_UART_TxCpltCallback(UART_HandleTypeDef *huart) {
	if (huart->Instance == USART1) {
		uart_dma_busy = false;  // Mark DMA as free
	}
}
/* USER CODE END 4 */

void Error_Handler(void)
{
	__disable_irq();
	while (1) {
	}
}
